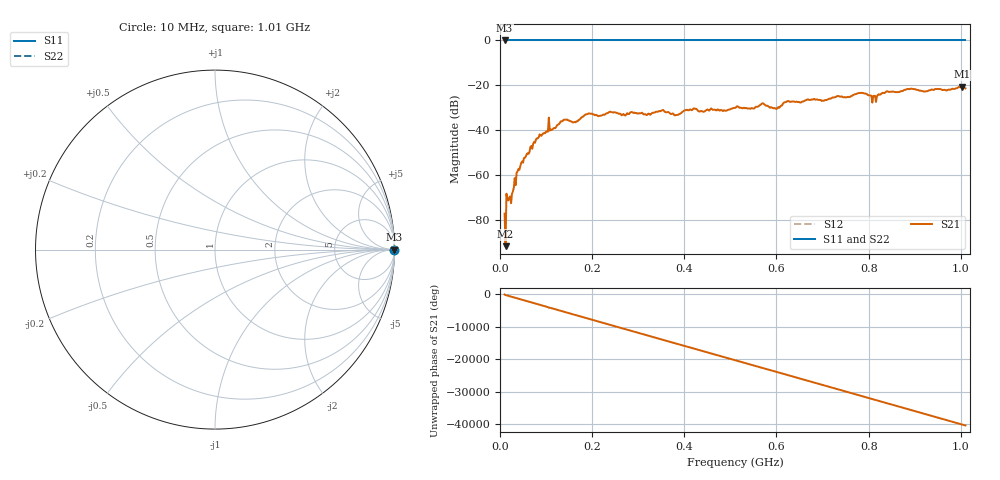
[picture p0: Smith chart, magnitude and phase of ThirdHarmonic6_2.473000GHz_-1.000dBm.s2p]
! 8/17/2025 4:33:56 AM
! C:\ANRITSUVNA\TEMP\TEMP.S2P
! CHANNEL.1
! TR.MEASUREMENT
! RAW.DATA
! RF.CORRECTION.OFF
! AVERAGING.OFF
! IF.BANDWIDTH: 5KHZ
! SWEEPTYPE:  FREQ.SWEEP(Linear)
! Reference Plane Port Info
! PORT:  PORT1  PORT2
! DISTANCE:  0  m  0  m
! TIME:  0  s  0  s
! PHASE.OFFSET:  0  deg.  0  deg.
! LOSS:  0  dB  0  dB
! REF.LOSS:  0  dB  0  dB
! REF.FREQ:  0  Hz  0  Hz
! Power Info
! POWER:  -20  dBm  -20  dBm
! EFF.POWER:  -20  dBm  -20  dBm
! SOURCE.ATTEN:  0  dB  0  dB
! TEST.ATTEN:  0  dB  0  dB
# GHZ S RI R 50.0
! FREQ.GHZ  S11RE  S11IM  S21RE  S21IM  S12RE  S12IM  S22RE  S22IM
!; PortSelection: Port_12
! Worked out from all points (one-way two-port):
!   501 points, 10 MHz to 1.01 GHz, reference 50 ohm
!   highest |S21| = -20.55 dB at 1.002 GHz (marker M1); lowest = -91.6 dB at 12 MHz (marker M2)
!   lowest |S11| = 0.0 dB at 10 MHz (marker M3)
!   |S11| at or under -10 dB: nowhere
!   |S22| runs from 0.0 to 0.0 dB; largest |S21 - S12| = 1.1
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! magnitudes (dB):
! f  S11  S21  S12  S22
! 10 MHz  0.0  -77.1  0.0  0.0
! 12 MHz  0.0  -91.6  0.0  0.0
! 18 MHz  0.0  -71.3  0.0  0.0
! 26 MHz  0.0  -68.3  0.0  0.0
! 40 MHz  0.0  -57.3  0.0  0.0
! 82 MHz  0.0  -43.6  0.0  0.0
! 136 MHz  0.0  -35.8  0.0  0.0
! 162 MHz  0.0  -36.3  0.0  0.0
! 178 MHz  0.0  -34.1  0.0  0.0
! 344 MHz  0.0  -31.6  0.0  0.0
! 382 MHz  0.0  -33.2  0.0  0.0
! 422 MHz  0.0  -30.3  0.0  0.0
! 510 MHz  0.0  -30.0  0.0  0.0
! 570 MHz  0.0  -28.0  0.0  0.0
! 598 MHz  0.0  -30.3  0.0  0.0
! 622 MHz  0.0  -27.2  0.0  0.0
! 678 MHz  0.0  -26.3  0.0  0.0
! 782 MHz  0.0  -23.4  0.0  0.0
! 812 MHz  0.0  -24.6  0.0  0.0
! 844 MHz  0.0  -22.9  0.0  0.0
! 1.002 GHz  0.0  -20.6  0.0  0.0
! 1.01 GHz  0.0  -21.3  0.0  0.0
